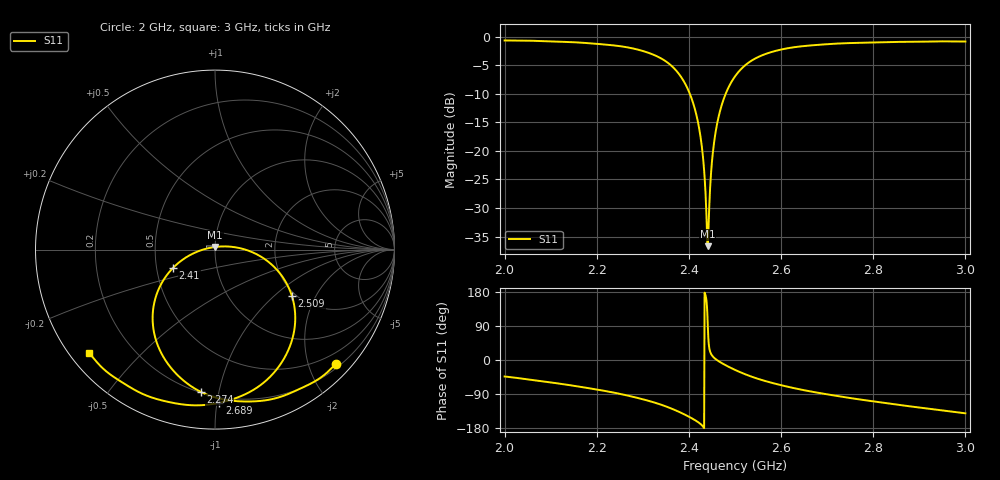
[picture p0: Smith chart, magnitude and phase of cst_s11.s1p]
! TOUCHSTONE file generated by CST MICROWAVE STUDIO
! Date and time: Thu Oct  8 19:25:58 2026
! Project name: InsetFed_PatchAntenna_2p45GHz_CST_TD.cst
! Parameters = {FedL=23.585; CutW=5; PatY=-14.415; Inset=8; FedW=3; PatL=28.54; PatW=37.26; CuH=0.035; SubH=1.6; SubL=60; SubW=50}
! Header version: 2024
! Port assignment regex: !\s*Touchstone port\s*([0-9]+)\s*=\s*(CST MWS port|CST DES external port|CST DES block port)\s*(.+)\s* \(\"(.*)\"\)(\s*mode\s*([0-9]+))?.*
! Touchstone port assignment:
! Touchstone port 1 = CST MWS port 1 ("")
# GHz S RI R 50
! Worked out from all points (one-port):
!   1001 points, 2 GHz to 3 GHz, reference 50 ohm
!   lowest |S11| = -36.7 dB at 2.441 GHz (marker M1), VSWR 1.03, Z = 50 + j1.47 ohm
!   |S11| at or under -10 dB: 2.402 GHz to 2.48 GHz (77.77 MHz wide, 3.19 % of centre)
!   S11 on the Smith chart (normalised r, x): 2 GHz: 0.27, -2.48; 2.274 GHz: 0.20, -0.88; 2.41 GHz: 0.61, -0.13; 2.509 GHz: 1.91, -1.31; 2.689 GHz: 0.16, -1.02; 3 GHz: 0.05, -0.36
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2  0.673 -0.6373
2.125  0.4035 -0.8063
2.187  0.2222 -0.8453
2.25  0.00995 -0.8264
2.274  -0.0808 -0.7918
2.328  -0.27 -0.6257
2.375  -0.3462 -0.3478
2.395  -0.3053 -0.2021
2.41  -0.2343 -0.1024
2.42  -0.169 -0.0483
2.427  -0.1162 -0.0189
2.432  -0.0759 -0.00287
2.437  -0.0339 0.00872
2.441  0.000491 0.0147
2.444  0.0265 0.0171
2.449  0.07 0.0174
2.452  0.0959 0.0153
2.461  0.1714 -0.000814
2.477  0.2895 -0.0618
2.5  0.4034 -0.1975
2.509  0.428 -0.2571
2.534  0.4456 -0.4168
2.565  0.4004 -0.5775
2.625  0.2293 -0.7719
2.689  0.0246 -0.8534
2.75  -0.1586 -0.8651
2.875  -0.472 -0.7676
3  -0.7021 -0.5746
